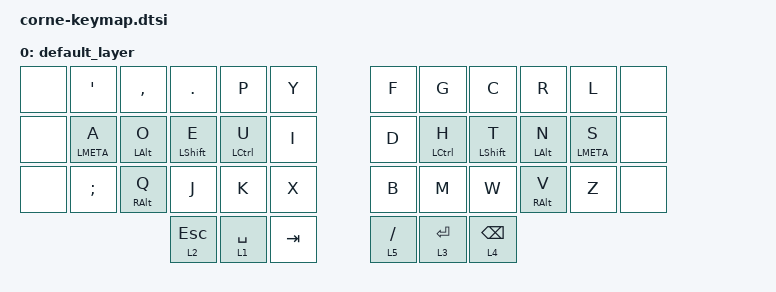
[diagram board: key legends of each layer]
/*
 * Copyright (c) 2020 The ZMK Contributors
 *
 * SPDX-License-Identifier: MIT
 */

#include <dt-bindings/zmk/keys.h>
#include <dt-bindings/zmk/bt.h>
#include <behaviors.dtsi>

#include "da-behaviors.dtsi"

#define HYPER LA(LC(LS(LGUI))) 
#define MEH   LA(LC(LSHFT)) 

/ {

        keymap {
                compatible = "zmk,keymap";

                default_layer {
// -----------------------------------------------------------------------------------------
// | NONE|  '  |  ,  |  .  |  P  |  Y  |      |  F  |  G  |  C  |  R  |  L  | NONE|
// | NONE|  A  |  O  |  S  |  U  |  I  |      |  D  |  H  |  T  |  N  |  S  | NONE|
// | NONE|  ;  |  Q  |  J  |  K  |  X  |      |  B  |  M  |  W  |  V  |  Z  | NONE|
//                   | ESC | SPC | TAB |      |  /  | RET | BKSP|
                        bindings = <
   &none &kp APOS     &kp COMMA    &kp DOT      &kp P        &kp Y            &kp F       &kp G        &kp C        &kp R         &kp L        &none
   &none &hml LMETA A &hml LALT O  &hml LSHFT E &hml LCTRL U &kp I            &kp D       &hmr LCTRL H &hmr LSHFT T &hmr LALT N   &hmr LMETA S &none
   &none &kp SEMI     &hml RALT Q  &kp J        &kp K        &kp X            &kp B       &kp M        &kp W        &hmr RALT V   &kp Z        &none
                                   &lt 2 ESC    &lt 1 SPACE  &kp TAB          &lt 5 FSLH  &lt 3 RET    &lt 4 BSPC
                        >;
                };
                        #include "right-layers.dtsi"
                        #include "left-layers.dtsi"
        };
};
